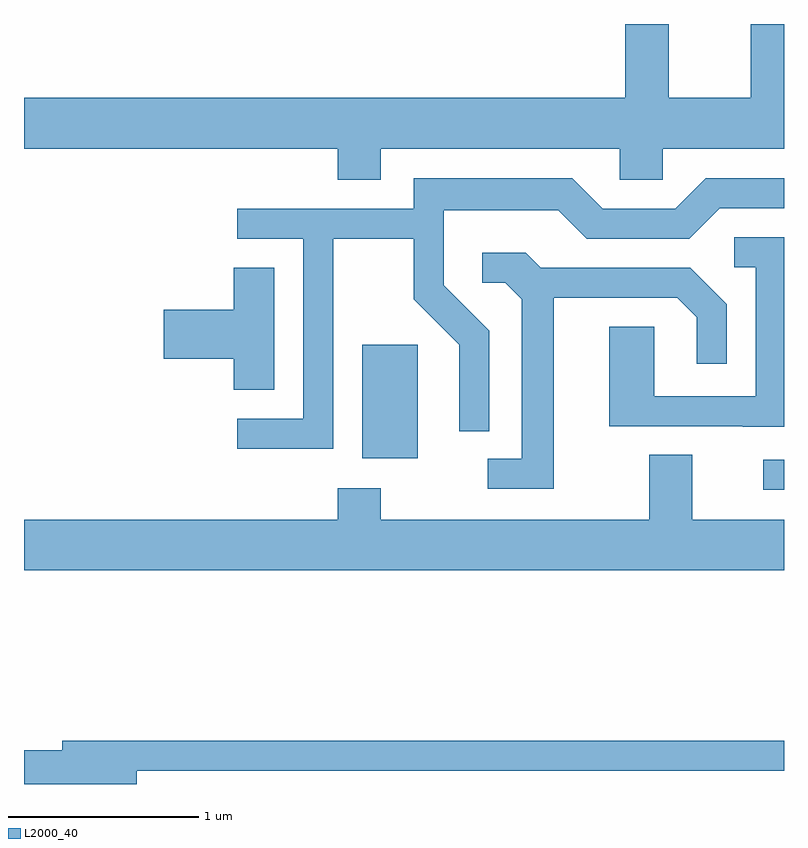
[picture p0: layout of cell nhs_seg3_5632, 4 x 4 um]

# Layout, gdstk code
import gdstk
lib = gdstk.Library(unit=1e-6, precision=1e-09)
def R(c, l, rs):  # rectangles x0, y0, x1, y1
    for r in rs: c.add(gdstk.rectangle(r[:2], r[2:], *l))
def P(c, l, *ps):  # polygons
    for p in ps: c.add(gdstk.Polygon(p, *l))
L2000_40 = (2000, 40)

nhs_seg3_5632 = lib.new_cell('nhs_seg3_5632')
R(nhs_seg3_5632, L2000_40, [(353.503,1237.441,353.611,1237.599), (351.391,1237.606,351.684,1238.204)])
P(nhs_seg3_5632, L2000_40, [(351.489,1239.236),(352.746,1239.236),(352.746,1239.071),(352.974,1239.071),(352.974,1239.236),(353.611,1239.236),(353.611,1239.892),(353.436,1239.892),(353.436,1239.504),(353.004,1239.504),(353.004,1239.892),(352.776,1239.892),(352.776,1239.504),(349.611,1239.504),(349.611,1239.236),(351.261,1239.236),(351.261,1239.071),(351.489,1239.071)],
  [(351.239,1238.761),(351.661,1238.761),(351.661,1238.444),(351.901,1238.204),(351.901,1237.748),(352.059,1237.748),(352.059,1238.277),(351.819,1238.517),(351.819,1238.911),(352.424,1238.911),(352.574,1238.761),(353.112,1238.761),(353.272,1238.921),(353.611,1238.921),(353.611,1239.079),(353.199,1239.079),(353.039,1238.919),(352.657,1238.919),(352.497,1239.079),(351.661,1239.079),(351.661,1238.919),(350.733,1238.919),(350.733,1238.761),(351.081,1238.761),(351.081,1237.814),(350.733,1237.814),(350.733,1237.656),(351.239,1237.656)],
  [(353.611,1238.769),(353.348,1238.769),(353.348,1238.611),(353.461,1238.611),(353.461,1237.934),(352.929,1237.934),(352.929,1238.299),(352.691,1238.299),(352.691,1237.776),(353.395,1237.776),(353.395,1237.771),(353.611,1237.771)],
  [(352.399,1238.451),(353.049,1238.451),(353.151,1238.349),(353.151,1238.103),(353.309,1238.103),(353.309,1238.417),(353.117,1238.609),(352.332,1238.609),(352.252,1238.689),(352.023,1238.689),(352.023,1238.531),(352.144,1238.531),(352.231,1238.444),(352.231,1237.604),(352.053,1237.604),(352.053,1237.446),(352.399,1237.446)],
  [(350.929,1238.609),(350.716,1238.609),(350.716,1238.389),(350.346,1238.389),(350.346,1238.131),(350.716,1238.131),(350.716,1237.966),(350.929,1237.966)],
  [(353.611,1237.284),(353.129,1237.284),(353.129,1237.624),(352.901,1237.624),(352.901,1237.284),(351.489,1237.284),(351.489,1237.449),(351.261,1237.449),(351.261,1237.284),(349.611,1237.284),(349.611,1237.016),(353.611,1237.016)],
  [(350.204,1235.961),(353.611,1235.961),(353.611,1236.119),(349.811,1236.119),(349.811,1236.069),(349.611,1236.069),(349.611,1235.892),(350.204,1235.892)])

lib.write_gds('nhs_seg3_5632.gds')
